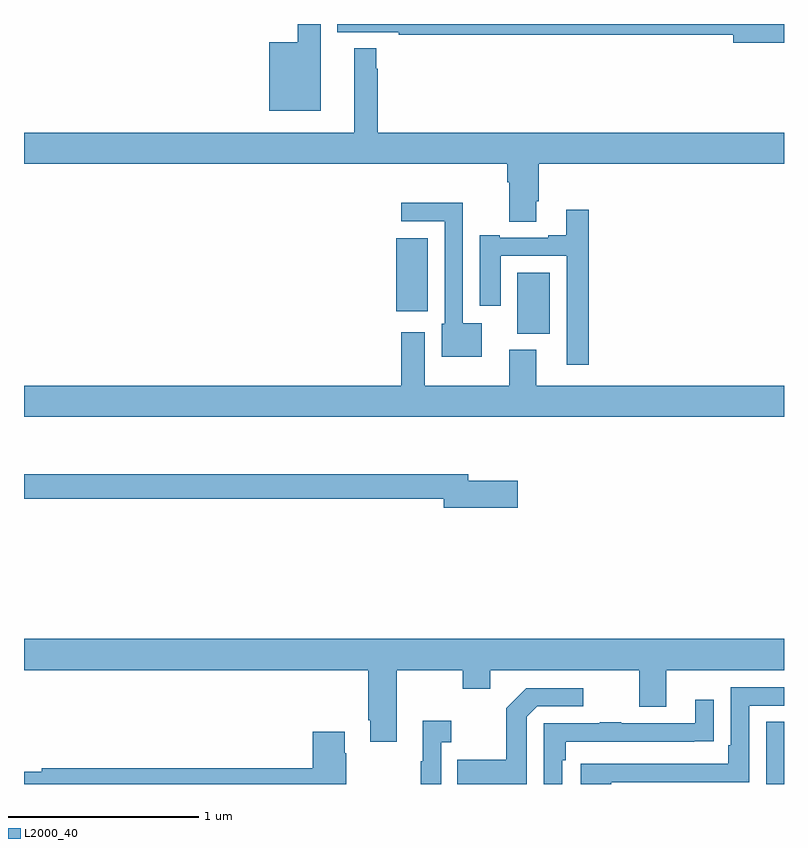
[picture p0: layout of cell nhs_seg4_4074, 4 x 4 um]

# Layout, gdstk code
import gdstk
lib = gdstk.Library(unit=1e-6, precision=1e-09)
def R(c, l, rs):  # rectangles x0, y0, x1, y1
    for r in rs: c.add(gdstk.rectangle(r[:2], r[2:], *l))
def P(c, l, *ps):  # polygons
    for p in ps: c.add(gdstk.Polygon(p, *l))
L2000_40 = (2000, 40)

nhs_seg4_4074 = lib.new_cell('nhs_seg4_4074')
R(nhs_seg4_4074, L2000_40, [(330.906,782.9,331,783.227), (329.597,785.27,329.767,785.59), (328.958,785.387,329.125,785.773)])
P(nhs_seg4_4074, L2000_40, [(331,786.9),(328.649,786.9),(328.649,786.857),(328.972,786.857),(328.972,786.844),(330.734,786.844),(330.734,786.802),(331,786.802)],
  [(328.561,786.9),(328.44,786.9),(328.44,786.805),(328.292,786.805),(328.292,786.443),(328.561,786.443)],
  [(329.695,785.968),(329.708,785.968),(329.708,786.164),(331,786.164),(331,786.328),(328.861,786.328),(328.861,786.665),(328.854,786.665),(328.854,786.772),(328.739,786.772),(328.739,786.328),(327,786.328),(327,786.164),(329.543,786.164),(329.543,786.068),(329.555,786.068),(329.555,785.86),(329.695,785.86)],
  [(329.41,785.326),(329.31,785.326),(329.31,785.96),(328.986,785.96),(328.986,785.862),(329.214,785.862),(329.214,785.322),(329.198,785.322),(329.198,785.15),(329.41,785.15)],
  [(329.972,785.923),(329.855,785.923),(329.855,785.788),(329.759,785.788),(329.759,785.775),(329.503,785.775),(329.503,785.788),(329.399,785.788),(329.399,785.418),(329.509,785.418),(329.509,785.679),(329.856,785.679),(329.856,785.106),(329.972,785.106)],
  [(331,784.996),(329.695,784.996),(329.695,785.185),(329.555,785.185),(329.555,784.996),(329.11,784.996),(329.11,785.278),(328.985,785.278),(328.985,784.996),(327,784.996),(327,784.832),(331,784.832)],
  [(329.599,784.497),(329.338,784.497),(329.338,784.531),(327,784.531),(327,784.402),(329.21,784.402),(329.21,784.355),(329.599,784.355)],
  [(328.963,783.5),(329.308,783.5),(329.308,783.401),(329.455,783.401),(329.455,783.5),(330.239,783.5),(330.239,783.306),(330.379,783.306),(330.379,783.5),(331,783.5),(331,783.664),(327,783.664),(327,783.5),(328.811,783.5),(328.811,783.235),(328.823,783.235),(328.823,783.123),(328.963,783.123)],
  [(330.092,782.91),(330.816,782.91),(330.816,783.312),(331,783.312),(331,783.408),(330.72,783.408),(330.72,783.103),(330.707,783.103),(330.707,783.006),(329.931,783.006),(329.931,782.9),(330.092,782.9)],
  [(329.646,783.255),(329.7,783.309),(329.944,783.309),(329.944,783.405),(329.643,783.405),(329.538,783.299),(329.538,783.027),(329.281,783.027),(329.281,782.9),(329.646,782.9)],
  [(329.832,783.026),(329.852,783.026),(329.852,783.123),(330.527,783.123),(330.527,783.124),(330.629,783.124),(330.629,783.343),(330.533,783.343),(330.533,783.219),(330.143,783.219),(330.143,783.224),(330.031,783.224),(330.031,783.219),(329.736,783.219),(329.736,782.9),(329.832,782.9)],
  [(329.196,783.119),(329.248,783.119),(329.248,783.232),(329.099,783.232),(329.099,783.019),(329.088,783.019),(329.088,782.9),(329.196,782.9)],
  [(328.695,783.062),(328.687,783.062),(328.687,783.175),(328.52,783.175),(328.52,782.984),(327.094,782.984),(327.094,782.964),(327,782.964),(327,782.9),(328.695,782.9)])

lib.write_gds('nhs_seg4_4074.gds')
